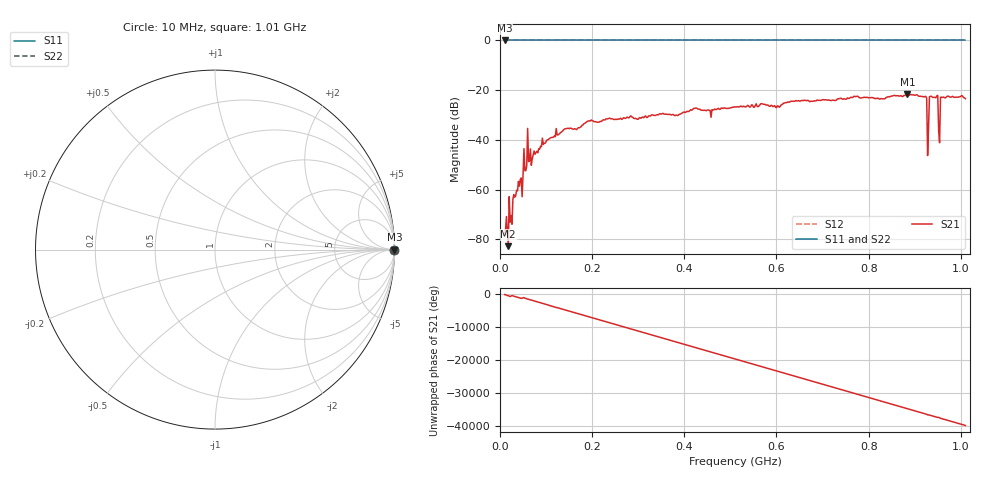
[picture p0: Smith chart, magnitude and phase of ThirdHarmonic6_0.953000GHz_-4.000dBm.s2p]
! 8/16/2025 6:55:42 AM
! C:\ANRITSUVNA\TEMP\TEMP.S2P
! CHANNEL.1
! TR.MEASUREMENT
! RAW.DATA
! RF.CORRECTION.OFF
! AVERAGING.OFF
! IF.BANDWIDTH: 5KHZ
! SWEEPTYPE:  FREQ.SWEEP(Linear)
! Reference Plane Port Info
! PORT:  PORT1  PORT2
! DISTANCE:  0  m  0  m
! TIME:  0  s  0  s
! PHASE.OFFSET:  0  deg.  0  deg.
! LOSS:  0  dB  0  dB
! REF.LOSS:  0  dB  0  dB
! REF.FREQ:  0  Hz  0  Hz
! Power Info
! POWER:  -20  dBm  -20  dBm
! EFF.POWER:  -20  dBm  -20  dBm
! SOURCE.ATTEN:  0  dB  0  dB
! TEST.ATTEN:  0  dB  0  dB
# GHZ S RI R 50.0
! FREQ.GHZ  S11RE  S11IM  S21RE  S21IM  S12RE  S12IM  S22RE  S22IM
!; PortSelection: Port_12
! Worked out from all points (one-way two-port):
!   501 points, 10 MHz to 1.01 GHz, reference 50 ohm
!   highest |S21| = -21.57 dB at 884 MHz (marker M1); lowest = -82.7 dB at 18 MHz (marker M2)
!   lowest |S11| = 0.0 dB at 10 MHz (marker M3)
!   |S11| at or under -10 dB: nowhere
!   |S22| runs from 0.0 to 0.0 dB; largest |S21 - S12| = 1.1
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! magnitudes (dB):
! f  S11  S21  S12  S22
! 10 MHz  0.0  -78.3  0.0  0.0
! 18 MHz  0.0  -82.7  0.0  0.0
! 46 MHz  0.0  -55.3  0.0  0.0
! 56 MHz  0.0  -52.4  0.0  0.0
! 62 MHz  0.0  -48.7  0.0  0.0
! 66 MHz  0.0  -43.6  0.0  0.0
! 118 MHz  0.0  -38.4  0.0  0.0
! 178 MHz  0.0  -34.1  0.0  0.0
! 344 MHz  0.0  -29.9  0.0  0.0
! 510 MHz  0.0  -26.7  0.0  0.0
! 678 MHz  0.0  -24.5  0.0  0.0
! 844 MHz  0.0  -22.7  0.0  0.0
! 884 MHz  0.0  -21.6  0.0  0.0
! 922 MHz  0.0  -22.6  0.0  0.0
! 926 MHz  0.0  -23.2  0.0  0.0
! 932 MHz  0.0  -22.7  0.0  0.0
! 936 MHz  0.0  -22.4  0.0  0.0
! 946 MHz  0.0  -23.0  0.0  0.0
! 950 MHz  0.0  -22.1  0.0  0.0
! 956 MHz  0.0  -22.9  0.0  0.0
! 960 MHz  0.0  -22.9  0.0  0.0
! 1.01 GHz  0.0  -23.4  0.0  0.0
